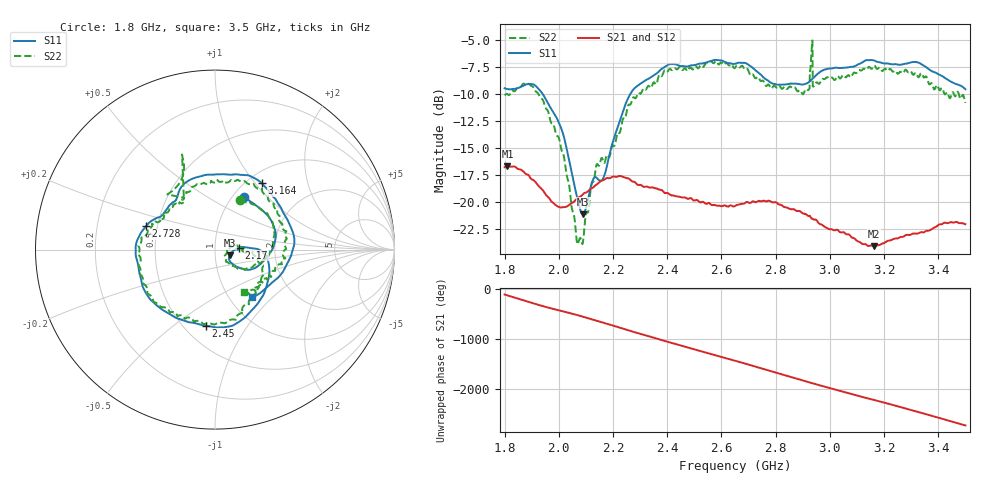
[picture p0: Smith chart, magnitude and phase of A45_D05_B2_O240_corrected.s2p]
! Created with skrf 1.9.0 (http://scikit-rf.org).
# Hz S RI R 50.0
!freq ReS11 ImS11 ReS21 ImS21 ReS12 ImS12 ReS22 ImS22
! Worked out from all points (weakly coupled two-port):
!   1601 points, 1.8 GHz to 3.5 GHz, reference 50 ohm
!   highest |S21| = -16.68 dB at 1.811 GHz (marker M1); lowest = -24.1 dB at 3.161 GHz (marker M2)
!   lowest |S11| = -21.1 dB at 2.09 GHz (marker M3), VSWR 1.19, Z = 58.7 - j3.83 ohm
!   |S11| at or under -10 dB: 1.941 GHz to 2.263 GHz (322.5 MHz wide, 15.3 % of centre)
!   |S22| runs from -23.9 to -5.0 dB; largest |S21 - S12| = 0.0023
!   S11 on the Smith chart (normalised r, x): 1.8 GHz: 1.13, +0.75; 2.17 GHz: 1.31, +0.03; 2.45 GHz: 0.64, -0.66; 2.728 GHz: 0.43, +0.13; 3.164 GHz: 1.16, +1.08; 3.5 GHz: 1.27, -0.75
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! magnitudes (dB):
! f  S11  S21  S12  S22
! 1.8 GHz  -9.5  -16.8  -16.8  -10.1
! 1.811 GHz  -9.5  -16.7  -16.7  -10.0
! 1.885 GHz  -9.1  -17.5  -17.5  -9.0
! 1.941 GHz  -10.0  -18.9  -18.9  -10.6
! 2.011 GHz  -13.3  -20.5  -20.5  -15.3
! 2.067 GHz  -19.5  -19.7  -19.7  -23.7
! 2.084 GHz  -21.0  -19.4  -19.4  -23.7
! 2.09 GHz  -21.1  -19.2  -19.3  -23.5
! 2.136 GHz  -17.7  -18.4  -18.4  -16.9
! 2.17 GHz  -17.4  -17.9  -17.9  -16.3
! 2.26 GHz  -10.2  -17.9  -17.9  -11.0
! 2.367 GHz  -7.9  -18.8  -18.8  -8.4
! 2.45 GHz  -7.4  -19.6  -19.5  -7.6
! 2.65 GHz  -7.2  -20.4  -20.3  -7.6
! 2.728 GHz  -7.8  -20.0  -20.0  -8.5
! 2.901 GHz  -9.1  -21.1  -21.0  -10.0
! 2.934 GHz  -8.6  -21.6  -21.5  -5.6
! 2.945 GHz  -8.4  -21.6  -21.7  -9.1
! 3.161 GHz  -6.9  -24.1  -24.0  -7.4
! 3.164 GHz  -6.9  -24.1  -24.0  -7.4
! 3.217 GHz  -7.2  -23.6  -23.5  -7.7
! 3.5 GHz  -9.5  -22.1  -22.0  -10.8
